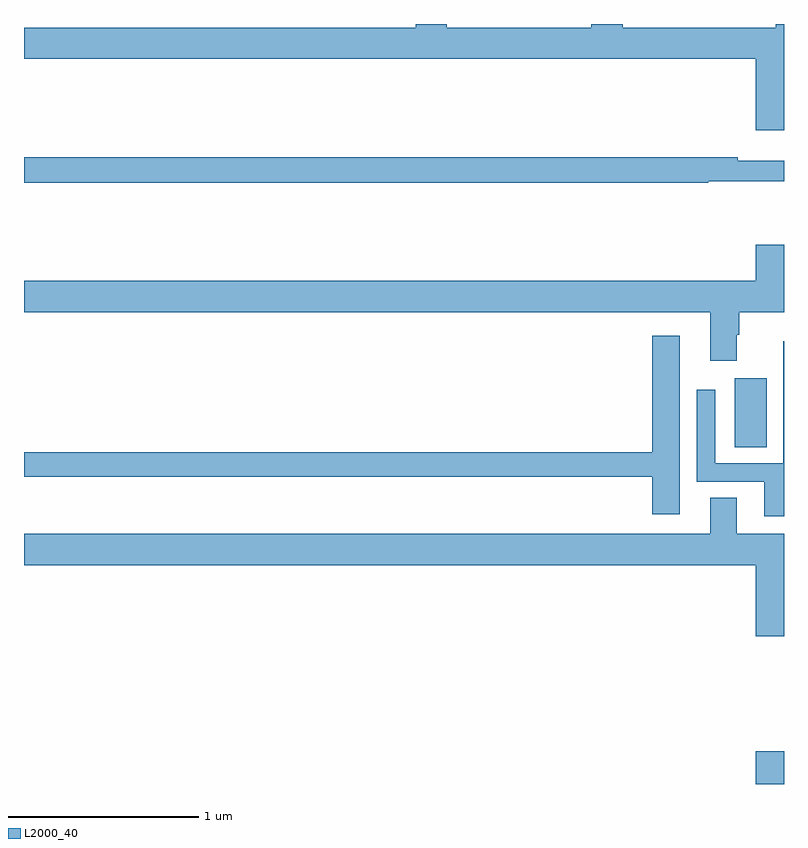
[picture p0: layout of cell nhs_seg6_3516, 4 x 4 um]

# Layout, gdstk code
import gdstk
lib = gdstk.Library(unit=1e-6, precision=1e-09)
def R(c, l, rs):  # rectangles x0, y0, x1, y1
    for r in rs: c.add(gdstk.rectangle(r[:2], r[2:], *l))
def P(c, l, *ps):  # polygons
    for p in ps: c.add(gdstk.Polygon(p, *l))
L2000_40 = (2000, 40)

nhs_seg6_3516 = lib.new_cell('nhs_seg6_3516')
R(nhs_seg6_3516, L2000_40, [(320.852,963.5,321,963.673), (320.741,965.272,320.908,965.635)])
P(nhs_seg6_3516, L2000_40, [(321,967.5),(320.957,967.5),(320.957,967.48),(320.15,967.48),(320.15,967.5),(319.985,967.5),(319.985,967.48),(319.226,967.48),(319.226,967.5),(319.061,967.5),(319.061,967.48),(317,967.48),(317,967.316),(320.852,967.316),(320.852,966.942),(321,966.942)],
  [(320.602,966.672),(321,966.672),(321,966.781),(320.756,966.781),(320.756,966.8),(317,966.8),(317,966.664),(320.602,966.664)],
  [(320.752,965.864),(320.765,965.864),(320.765,965.984),(321,965.984),(321,966.337),(320.852,966.337),(320.852,966.148),(317,966.148),(317,965.984),(320.612,965.984),(320.612,965.727),(320.752,965.727)],
  [(320.452,965.86),(320.306,965.86),(320.306,965.246),(317,965.246),(317,965.118),(320.306,965.118),(320.306,964.92),(320.452,964.92)],
  [(321,965.83),(320.997,965.83),(320.997,965.187),(320.637,965.187),(320.637,965.575),(320.541,965.575),(320.541,965.091),(320.897,965.091),(320.897,964.91),(321,964.91)],
  [(321,964.816),(320.752,964.816),(320.752,965.006),(320.612,965.006),(320.612,964.816),(317,964.816),(317,964.652),(320.852,964.652),(320.852,964.278),(321,964.278)])

lib.write_gds('nhs_seg6_3516.gds')
